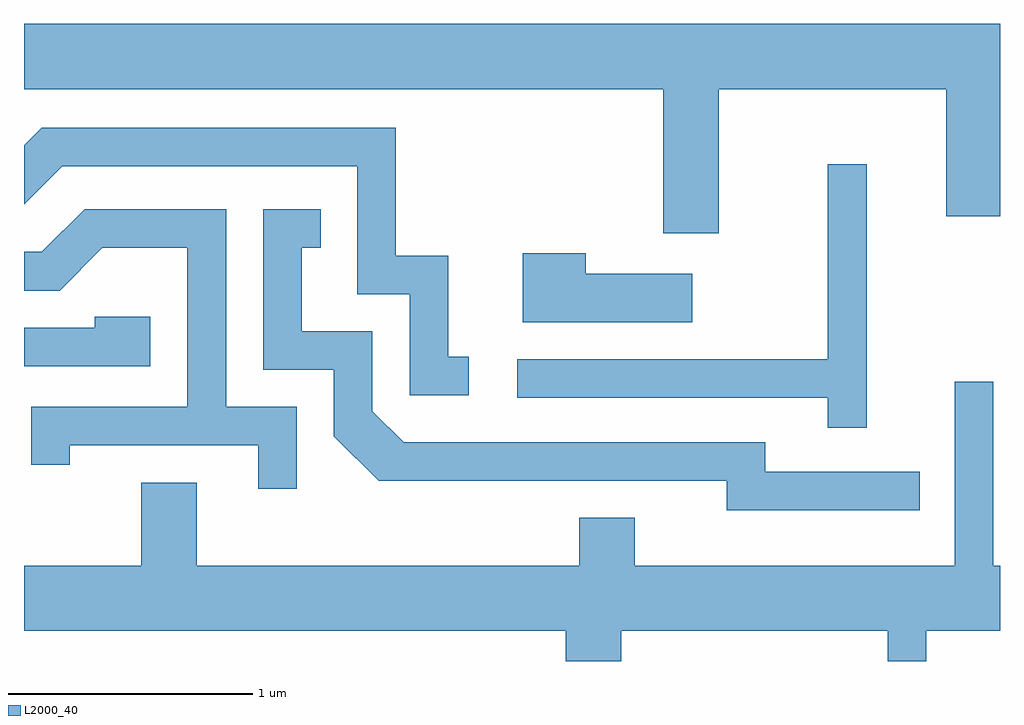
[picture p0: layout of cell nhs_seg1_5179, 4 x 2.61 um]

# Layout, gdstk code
import gdstk
lib = gdstk.Library(unit=1e-6, precision=1e-09)
def P(c, l, *ps):  # polygons
    for p in ps: c.add(gdstk.Polygon(p, *l))
L2000_40 = (2000, 40)

nhs_seg1_5179 = lib.new_cell('nhs_seg1_5179')
P(nhs_seg1_5179, L2000_40, [(344.459,864.056),(345.391,864.056),(345.391,863.536),(345.611,863.536),(345.611,864.324),(341.611,864.324),(341.611,864.056),(344.231,864.056),(344.231,863.466),(344.459,863.466)],
  [(343.433,862.959),(343.349,862.959),(343.349,863.374),(343.134,863.374),(343.134,863.899),(341.684,863.899),(341.611,863.826),(341.611,863.585),(341.767,863.741),(342.976,863.741),(342.976,863.216),(343.191,863.216),(343.191,862.801),(343.433,862.801)],
  [(345.064,863.748),(344.906,863.748),(344.906,862.949),(343.633,862.949),(343.633,862.791),(344.906,862.791),(344.906,862.668),(345.064,862.668)],
  [(345.283,862.489),(344.649,862.489),(344.649,862.609),(343.167,862.609),(343.039,862.737),(343.039,863.064),(342.749,863.064),(342.749,863.406),(342.828,863.406),(342.828,863.564),(342.591,863.564),(342.591,862.906),(342.881,862.906),(342.881,862.634),(343.064,862.451),(344.491,862.451),(344.491,862.331),(345.283,862.331)],
  [(342.729,862.754),(342.439,862.754),(342.439,863.564),(341.859,863.564),(341.684,863.389),(341.611,863.389),(341.611,863.231),(341.757,863.231),(341.932,863.406),(342.281,863.406),(342.281,862.754),(341.641,862.754),(341.641,862.518),(341.799,862.518),(341.799,862.596),(342.571,862.596),(342.571,862.418),(342.729,862.418)],
  [(344.349,863.299),(343.914,863.299),(343.914,863.384),(343.656,863.384),(343.656,863.101),(344.349,863.101)],
  [(342.129,863.124),(341.901,863.124),(341.901,863.079),(341.611,863.079),(341.611,862.921),(342.129,862.921)],
  [(344.059,861.836),(345.151,861.836),(345.151,861.712),(345.309,861.712),(345.309,861.836),(345.611,861.836),(345.611,862.104),(345.584,862.104),(345.584,862.858),(345.426,862.858),(345.426,862.104),(344.114,862.104),(344.114,862.299),(343.886,862.299),(343.886,862.104),(342.319,862.104),(342.319,862.444),(342.091,862.444),(342.091,862.104),(341.611,862.104),(341.611,861.836),(343.831,861.836),(343.831,861.712),(344.059,861.712)])

lib.write_gds('nhs_seg1_5179.gds')
